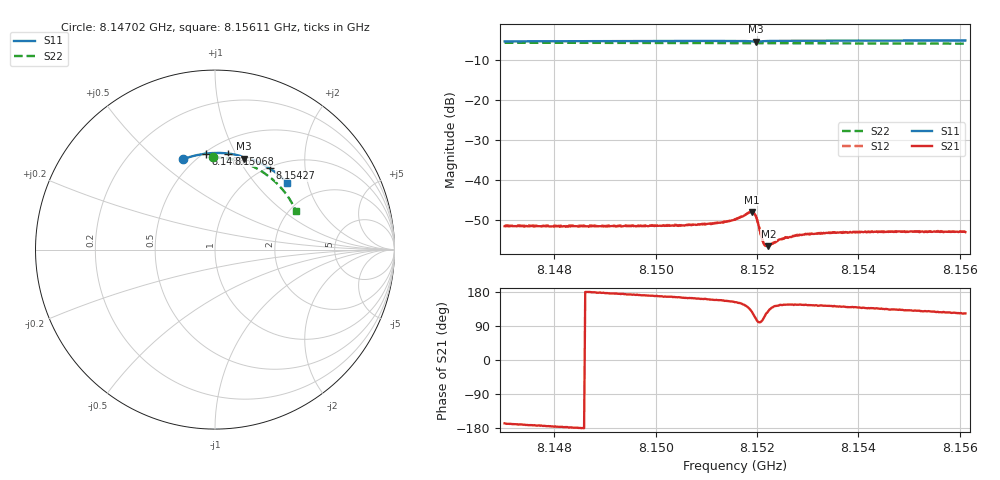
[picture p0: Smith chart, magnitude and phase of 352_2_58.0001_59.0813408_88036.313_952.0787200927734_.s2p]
#  HZ  S  RI  R  50.00
! Rohde & Schwarz Vector Network Analyzer
! Rohde-Schwarz,ZNB20-2Port,1311601062101988,3.16
! Created: UTC 3/21/2024, 1:06:03 AM
! freq[Hz]  re:S11  im:S11  re:S21  im:S21  re:S12  im:S12  re:S22  im:S22
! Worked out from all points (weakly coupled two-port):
!   401 points, 8.14702 GHz to 8.15611 GHz, reference 50 ohm
!   highest |S21| = -48.04 dB at 8.15191 GHz (marker M1); lowest = -56.6 dB at 8.15223 GHz (marker M2)
!   lowest |S11| = -5.5 dB at 8.15198 GHz (marker M3), VSWR 3.26, Z = 37.3 + j52.5 ohm
!   |S11| at or under -10 dB: nowhere
!   |S22| runs from -6.0 to -5.8 dB; largest |S21 - S12| = 0.00012
!   S11 on the Smith chart (normalised r, x): 8.14702 GHz: 0.44, +0.62; 8.14886 GHz: 0.51, +0.77; 8.15068 GHz: 0.62, +0.94; 8.15427 GHz: 1.02, +1.31; 8.15611 GHz: 1.41, +1.50
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8.14702e9  -0.176 0.5039  -0.00256 -0.000581  -0.00265 -0.000524  -0.00906 0.5132
8.148543e9  -0.0734 0.5315  -0.00264 -1.08e-05  -0.00266 -1.2e-05  0.0898 0.5037
8.148861e9  -0.0514 0.5347  -0.00263 0.000121  -0.00264 0.00017  0.11 0.4993
8.150066e9  0.0324 0.5382  -0.0026 0.000536  -0.00263 0.000586  0.184 0.4753
8.150679e9  0.0751 0.5349  -0.00261 0.000772  -0.00262 0.000836  0.2198 0.4587
8.151134e9  0.1067 0.5301  -0.00265 0.00101  -0.00267 0.00103  0.2454 0.4449
8.151566e9  0.1375 0.5229  -0.0028 0.00146  -0.00283 0.00153  0.2687 0.4302
8.151839e9  0.1571 0.5132  -0.00283 0.00266  -0.00284 0.0027  0.283 0.4203
8.151907e9  0.1598 0.5088  -0.0023 0.00323  -0.00226 0.00327  0.2866 0.4178
8.151952e9  0.1595 0.5064  -0.00156 0.00343  -0.00154 0.00348  0.2886 0.4161
8.151975e9  0.1591 0.5059  -0.00117 0.00334  -0.0011 0.00338  0.2897 0.4152
8.151998e9  0.1585 0.5062  -0.000801 0.00311  -0.000752 0.00316  0.2909 0.4144
8.152111e9  0.1633 0.5106  -0.000467 0.00166  -0.000462 0.00167  0.2966 0.4106
8.152157e9  0.1669 0.5114  -0.000676 0.00135  -0.000657 0.00136  0.299 0.4087
8.152225e9  0.1724 0.5114  -0.00094 0.00114  -0.000966 0.00119  0.3025 0.406
8.152407e9  0.1864 0.5086  -0.00139 0.00103  -0.0014 0.00106  0.3116 0.3986
8.152543e9  0.1962 0.5056  -0.00154 0.00104  -0.00153 0.00107  0.3182 0.3933
8.152816e9  0.2146 0.499  -0.00167 0.00113  -0.00168 0.00116  0.3312 0.3819
8.153089e9  0.2323 0.4916  -0.00173 0.00122  -0.0017 0.00127  0.3437 0.37
8.154271e9  0.3044 0.4525  -0.00164 0.00154  -0.00162 0.0016  0.3929 0.3142
8.154612e9  0.3239 0.4395  -0.00153 0.00164  -0.00157 0.00162  0.4053 0.2969
8.156112e9  0.4021 0.3722  -0.0012 0.00186  -0.0012 0.00189  0.4508 0.2156
